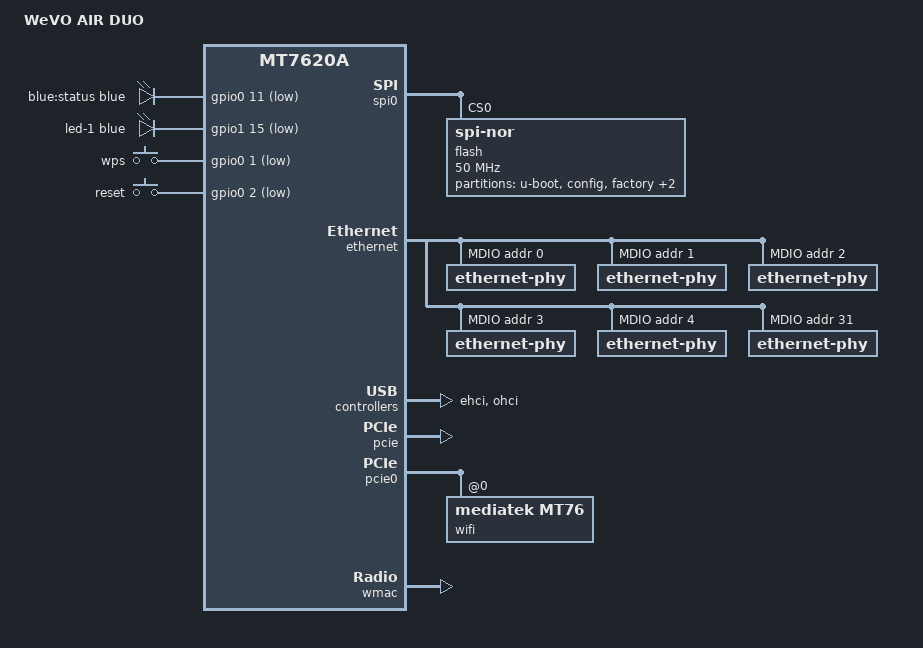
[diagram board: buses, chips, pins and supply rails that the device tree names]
// SPDX-License-Identifier: GPL-2.0-or-later OR MIT

#include "mt7620a.dtsi"

#include <dt-bindings/gpio/gpio.h>
#include <dt-bindings/input/input.h>
#include <dt-bindings/leds/common.h>

/ {
	compatible = "wevo,air-duo", "ralink,mt7620a-soc";
	model = "WeVO AIR DUO";

	aliases {
		led-boot = &led_status;
		led-failsafe = &led_status;
		led-running = &led_status;
		led-upgrade = &led_status;
		label-mac-device = &ethernet;
	};

	leds {
		compatible = "gpio-leds";

		led_status: led-0 {
			label = "blue:status";
			color = <LED_COLOR_ID_BLUE>;
			function = LED_FUNCTION_STATUS;
			gpios = <&gpio0 11 GPIO_ACTIVE_LOW>;
		};

		led-1 {
			color = <LED_COLOR_ID_BLUE>;
			function = LED_FUNCTION_WPS;
			gpios = <&gpio1 15 GPIO_ACTIVE_LOW>;
		};
	};

	keys {
		compatible = "gpio-keys";

		wps {
			label = "wps";
			gpios = <&gpio0 1 GPIO_ACTIVE_LOW>;
			linux,code = <KEY_WPS_BUTTON>;
		};

		reset {
			label = "reset";
			gpios = <&gpio0 2 GPIO_ACTIVE_LOW>;
			linux,code = <KEY_RESTART>;
		};
	};
};

&gpio1 {
	status = "okay";
};

&spi0 {
	status = "okay";

	flash@0 {
		compatible = "jedec,spi-nor";
		reg = <0>;
		spi-max-frequency = <50000000>;

		partitions {
			compatible = "fixed-partitions";
			#address-cells = <1>;
			#size-cells = <1>;

			partition@0 {
				label = "u-boot";
				reg = <0x0 0x30000>;
				read-only;
			};

			partition@30000 {
				label = "config";
				reg = <0x30000 0x10000>;
				read-only;
			};

			factory: partition@40000 {
				label = "factory";
				reg = <0x40000 0x10000>;
				read-only;

				compatible = "nvmem-cells";
				#address-cells = <1>;
				#size-cells = <1>;

				macaddr_factory_4: macaddr@4 {
					reg = <0x4 0x6>;
				};
			};

			partition@50000 {
				compatible = "denx,uimage";
				label = "firmware";
				reg = <0x50000 0xeb0000>;
			};

			partition@f00000 {
				label = "db";
				reg = <0xf00000 0x100000>;
				read-only;
			};
		};
	};
};

&state_default {
	gpio {
		groups = "i2c", "uartf", "spi refclk";
		function = "gpio";
	};
};

&ethernet {
	pinctrl-names = "default";
	pinctrl-0 = <&rgmii1_pins &mdio_pins>;
	nvmem-cells = <&macaddr_factory_4>;
	nvmem-cell-names = "mac-address";

	port@5 {
		status = "okay";
		mediatek,fixed-link = <1000 1 1 1>;
		phy-mode = "rgmii";
	};

	mdio-bus {
		status = "okay";

		ethernet-phy@0 {
			reg = <0>;
			phy-mode = "rgmii";
		};

		ethernet-phy@1 {
			reg = <1>;
			phy-mode = "rgmii";
		};

		ethernet-phy@2 {
			reg = <2>;
			phy-mode = "rgmii";
		};

		ethernet-phy@3 {
			reg = <3>;
			phy-mode = "rgmii";
		};

		ethernet-phy@4 {
			reg = <4>;
			phy-mode = "rgmii";
		};

		ethernet-phy@1f {
			reg = <0x1f>;
			phy-mode = "rgmii";
		};
	};
};

&gsw {
	mediatek,ephy-base = /bits/ 8 <12>;
};

&ehci {
	status = "okay";
};

&ohci {
	status = "okay";
};

&pcie {
	status = "okay";
};

&pcie0 {
	wifi@0,0 {
		compatible = "mediatek,mt76";
		reg = <0x0000 0 0 0 0>;
		mediatek,mtd-eeprom = <&factory 0x8000>;
		ieee80211-freq-limit = <5000000 6000000>;

		led {
			led-sources = <2>;
			led-active-low;
		};
	};
};

&wmac {
	pinctrl-names = "default";
	pinctrl-0 = <&wled_pins>;

	ralink,mtd-eeprom = <&factory 0x0>;
};
